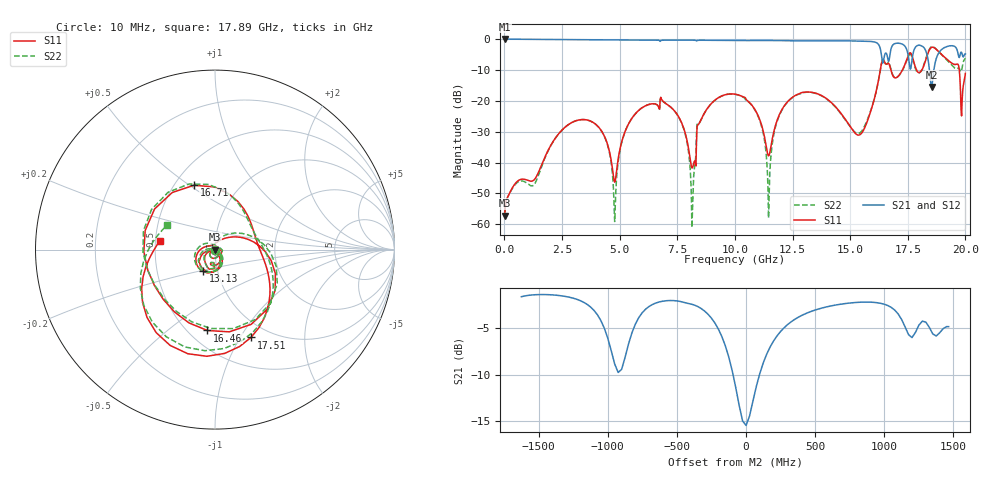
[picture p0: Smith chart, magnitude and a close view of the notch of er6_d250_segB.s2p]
! Stitch-rule transferability - stripline, 2 mm stitch pitch, cut at x=20 mm
! Case: er6_d250_segB
! Sweep: 10 MHz - 20 GHz, 25 MHz step, 4 cores
# GHz S MA R 50.000000
! Terminal data exported
! Port[1] = U1.PAD1.SIG
! Port[2] = U2.PAD1.SIG
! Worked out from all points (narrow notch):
!   801 points, 10 MHz to 20 GHz, reference 50 ohm
!   highest |S21| = -0.01 dB at 10 MHz (marker M1); lowest = -15.5 dB at 18.54 GHz (marker M2)
!   notch at M2: 15.0 dB deep, 272 MHz wide at half that depth
!   lowest |S11| = -57.2 dB at 10 MHz (marker M3), VSWR 1.00, Z = 50.1 + j0.0489 ohm
!   |S11| at or under -10 dB: start of sweep to 16.31 GHz; 16.77 GHz to 17.27 GHz (504.1 MHz wide, 2.96 % of centre); 19.73 GHz to end of sweep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
!   |S22| runs from -61.1 to -2.4 dB; largest |S21 - S12| = 0
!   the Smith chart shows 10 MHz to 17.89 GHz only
!   S11 on the Smith chart (normalised r, x): 10 MHz: 1.00, +0.00; 13.13 GHz: 0.85, -0.21; 16.46 GHz: 0.62, -0.70; 16.71 GHz: 0.62, +0.52; 17.51 GHz: 0.82, -1.11; 17.89 GHz: 0.53, +0.05
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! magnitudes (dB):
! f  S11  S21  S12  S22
! 10 MHz  -57.2  0.0  0.0  -57.2
! 3.36 GHz  -26.1  -0.2  -0.2  -26.1
! 4.785 GHz  -46.4  -0.2  -0.2  -59.1
! 5.385 GHz  -27.5  -0.3  -0.3  -27.6
! 6.685 GHz  -21.9  -0.4  -0.4  -22.0
! 7.685 GHz  -27.0  -0.4  -0.4  -27.2
! 8.16 GHz  -41.7  -0.4  -0.4  -55.3
! 8.46 GHz  -27.2  -0.4  -0.4  -27.3
! 10.01 GHz  -17.9  -0.5  -0.5  -17.9
! 11.01 GHz  -24.9  -0.5  -0.5  -25.1
! 11.46 GHz  -37.9  -0.5  -0.5  -58.0
! 11.96 GHz  -24.0  -0.5  -0.5  -24.2
! 13.13 GHz  -17.2  -0.6  -0.6  -17.2
! 13.36 GHz  -17.3  -0.6  -0.6  -17.4
! 15.41 GHz  -31.0  -0.6  -0.6  -30.5
! 16.46 GHz  -6.9  -6.5  -6.5  -7.1
! 16.68 GHz  -8.0  -7.1  -7.1  -7.7
! 16.71 GHz  -8.5  -5.9  -5.9  -8.1
! 17.51 GHz  -5.5  -5.0  -5.0  -5.9
! 17.89 GHz  -10.1  -2.2  -2.2  -10.5
! 18.54 GHz  -2.7  -15.5  -15.5  -2.5
! 20 GHz  -11.1  -4.8  -4.8  -6.2
